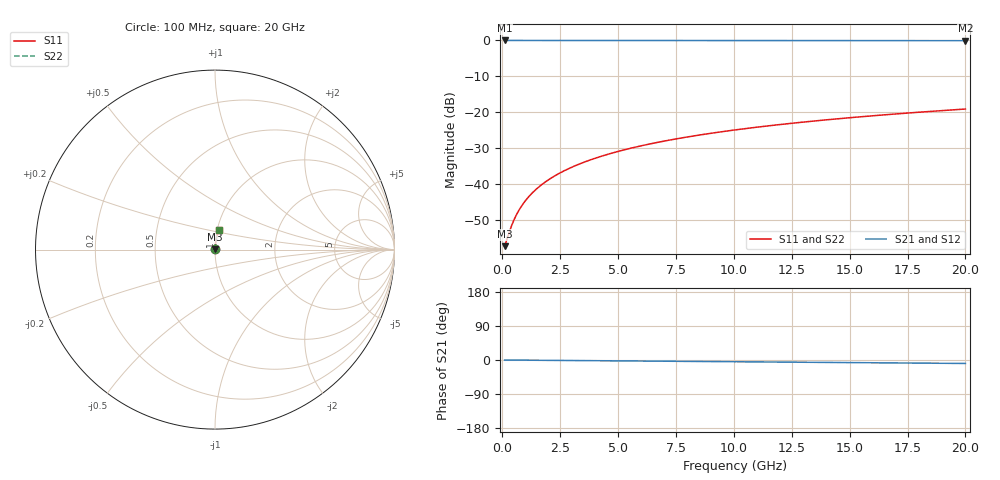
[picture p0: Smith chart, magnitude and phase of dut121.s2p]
! Touchstone file exported from HFSS 2026.1.0
!  File:  C:/ffzhzh/LocalFiles/Ansys_Project_Files/temp_train_TSV_121_1782989971_40604.aedt
!  Generated:  07:01:31 PM Jul  2, 2026
!  Design:  TSV
!  Project:  temp_train_TSV_121_1782989971_40604
! Variables:
!  h_bsmrdl = 2um
!  h_ox = 20um
!  h_rdl = 5um
!  h_sub = 59.59um
!  h_tmrdl = 5um
!  h_tsv = 59.59um
!  h_via = 3um
!  l_bsmrdl = 300um
!  l_sub = 404.76um
!  l_tmrdl = 200um
!  m_sub = 200um
!  pitch = 43.4um
!  r_tsv = 2.38um
!  s_tmrdl = 10um
!  w_bsmrdl = 18um
!  w_sub = 500um
!  w_tmrdl = 12um
!  x_tsv_center1 = 206um
!  x_tsv_center2 = 524um
!  x_tsv_center3 = 736um
!  x_tsv_center4 = 1054um
!  x_tsv_center5 = 1266um
!  x_tsv_center6 = 1584um
# GHz S MA R 50.000000
! Terminal data exported
! Port[1] = TSV1_1_T1
! Port[2] = TSV1_1_T2
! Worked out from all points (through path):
!   200 points, 100 MHz to 20 GHz, reference 50 ohm
!   highest |S21| = -0.01 dB at 100 MHz (marker M1); lowest = -0.1 dB at 20 GHz (marker M2)
!   group delay of S21, straight-line fit = 1.27 ps
!   lowest |S11| = -57.3 dB at 100 MHz (marker M3), VSWR 1.00, Z = 50.1 + j0.0578 ohm
!   |S11| at or under -10 dB: start of sweep to end of sweep
!   |S22| runs from -57.3 to -19.1 dB; largest |S21 - S12| = 4.1e-15
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0.1  0.00136 25.1  0.9988 -0.0  0.9988 -0.0  0.00136 25.1
! Gamma 0 0 0 0
! Port Impedance 50 0 50 0
0.3  0.002127 54.2  0.9988 -0.1  0.9988 -0.1  0.002127 54.2
0.4  0.002617 61.4  0.9988 -0.2  0.9988 -0.2  0.002617 61.4
0.5  0.003133 66.2  0.9987 -0.2  0.9987 -0.2  0.003133 66.2
0.6  0.003665 69.6  0.9987 -0.3  0.9987 -0.3  0.003665 69.6
0.7  0.004206 72.2  0.9987 -0.3  0.9987 -0.3  0.004206 72.2
0.9  0.005304 75.7  0.9987 -0.4  0.9987 -0.4  0.005304 75.7
1.2  0.006972 78.8  0.9987 -0.6  0.9987 -0.6  0.006972 78.8
1.4  0.008092 80.1  0.9987 -0.7  0.9987 -0.7  0.008092 80.1
1.7  0.009778 81.5  0.9986 -0.8  0.9986 -0.8  0.009778 81.5
2.2  0.0126 82.9  0.9986 -1.0  0.9986 -1.0  0.0126 82.9
2.8  0.01599 83.8  0.9985 -1.3  0.9985 -1.3  0.01599 83.8
3.5  0.01995 84.3  0.9984 -1.6  0.9984 -1.6  0.01995 84.3
4.2  0.0239 84.6  0.9983 -1.9  0.9983 -1.9  0.0239 84.6
5  0.02841 84.6  0.9981 -2.3  0.9981 -2.3  0.02841 84.6
5.9  0.03348 84.5  0.9978 -2.7  0.9978 -2.7  0.03348 84.5
6.8  0.03852 84.3  0.9976 -3.1  0.9976 -3.1  0.03852 84.3
8.3  0.0469 83.9  0.997 -3.8  0.997 -3.8  0.0469 83.9
10.1  0.05689 83.3  0.9963 -4.7  0.9963 -4.7  0.05689 83.3
13.4  0.07504 82.0  0.9947 -6.1  0.9947 -6.1  0.07504 82.0
16.7  0.09297 80.6  0.9929 -7.6  0.9929 -7.6  0.09297 80.6
20  0.1107 79.3  0.9908 -9.1  0.9908 -9.1  0.1107 79.3
